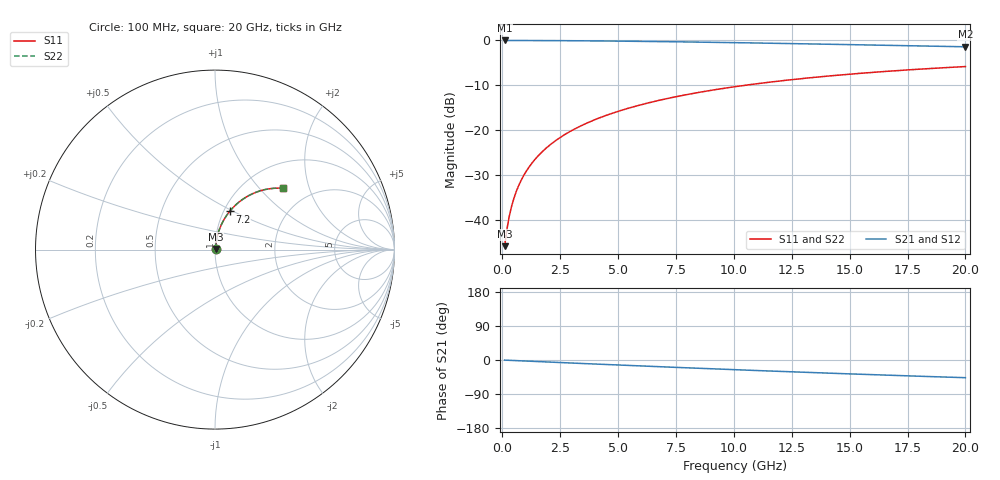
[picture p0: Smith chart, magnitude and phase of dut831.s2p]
! Touchstone file exported from HFSS 2026.1.0
!  File:  C:/ffzhzh/LocalFiles/Ansys_Project_Files/temp_train_TMRDL_831_1783156636_18472.aedt
!  Generated:  05:18:34 PM Jul  4, 2026
!  Design:  TMRDL
!  Project:  temp_train_TMRDL_831_1783156636_18472
! Variables:
!  h_bsmrdl = 2um
!  h_ox = 20um
!  h_rdl = 5um
!  h_sub = 80um
!  h_tmrdl = 4.52um
!  h_tsv = 80um
!  h_via = 3um
!  l_bsmrdl = 300um
!  l_sub = 1030.18um
!  l_tmrdl = 630.18um
!  m_sub = 200um
!  pitch = 51.49um
!  r_tsv = 6um
!  s_tmrdl = 10um
!  w_bsmrdl = 18um
!  w_sub = 500um
!  w_tmrdl = 13.14um
!  x_tsv_center1 = 636.75um
!  x_tsv_center2 = 954.75um
!  x_tsv_center3 = 1598.07um
!  x_tsv_center4 = 1916.07um
!  x_tsv_center5 = 2559.39um
!  x_tsv_center6 = 2877.39um
# GHz S MA R 50.000000
! Terminal data exported
! Port[1] = TM_RDL1_1_T1
! Port[2] = TM_RDL1_1_T2
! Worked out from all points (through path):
!   200 points, 100 MHz to 20 GHz, reference 50 ohm
!   highest |S21| = -0.03 dB at 100 MHz (marker M1); lowest = -1.4 dB at 20 GHz (marker M2)
!   group delay of S21, straight-line fit = 6.49 ps
!   lowest |S11| = -45.8 dB at 100 MHz (marker M3), VSWR 1.01, Z = 50.4 + j0.348 ohm
!   |S11| at or under -10 dB: start of sweep to 10.48 GHz
!   |S22| runs from -45.8 to -5.8 dB; largest |S21 - S12| = 2.1e-15
!   S11 on the Smith chart (normalised r, x): 100 MHz: 1.01, +0.01; 7.2 GHz: 1.07, +0.48; 20 GHz: 1.48, +1.36
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0.1  0.005157 42.1  0.9962 -0.3  0.9962 -0.3  0.005157 42.1
! Gamma 0 0 0 0
! Port Impedance 50 0 50 0
0.2  0.007931 60.1  0.9961 -0.6  0.9961 -0.6  0.007931 60.1
0.3  0.01105 68.1  0.996 -0.8  0.996 -0.8  0.01105 68.1
0.4  0.01426 72.3  0.9958 -1.1  0.9958 -1.1  0.01426 72.3
0.5  0.0175 74.9  0.9957 -1.4  0.9957 -1.4  0.0175 74.9
0.6  0.02077 76.7  0.9956 -1.6  0.9956 -1.6  0.02077 76.7
0.8  0.02733 78.8  0.9953 -2.2  0.9953 -2.2  0.02733 78.8
1.1  0.03721 80.2  0.9949 -3.0  0.9949 -3.0  0.03721 80.2
1.5  0.0504 80.7  0.9941 -4.0  0.9941 -4.0  0.0504 80.7
1.8  0.06028 80.6  0.9934 -4.8  0.9934 -4.8  0.06028 80.6
2.1  0.07013 80.3  0.9926 -5.6  0.9926 -5.6  0.07013 80.3
2.7  0.08968 79.3  0.9906 -7.2  0.9906 -7.2  0.08968 79.3
3.5  0.1154 77.7  0.9874 -9.3  0.9874 -9.3  0.1154 77.7
4.2  0.1375 76.1  0.984 -11.1  0.984 -11.1  0.1375 76.1
5  0.1623 74.3  0.9796 -13.2  0.9796 -13.2  0.1623 74.3
6.8  0.2161 70.0  0.9679 -17.7  0.9679 -17.7  0.2161 70.0
7.2  0.2276 69.0  0.965 -18.7  0.965 -18.7  0.2276 69.0
8.6  0.2667 65.8  0.9541 -22.2  0.9541 -22.2  0.2667 65.8
10.1  0.3065 62.3  0.9414 -25.7  0.9414 -25.7  0.3065 62.3
13.4  0.3859 55.1  0.911 -33.2  0.911 -33.2  0.3859 55.1
16.7  0.4539 48.3  0.8789 -40.2  0.8789 -40.2  0.4539 48.3
20  0.5109 41.9  0.8472 -46.7  0.8472 -46.7  0.5108 41.9
